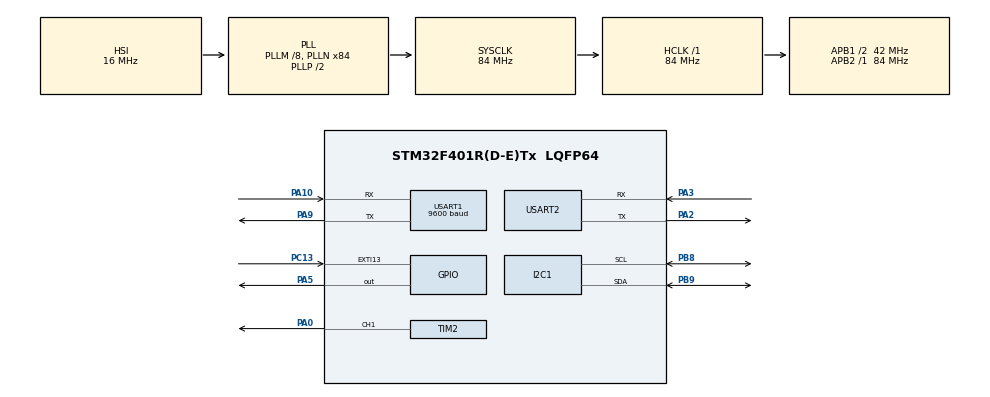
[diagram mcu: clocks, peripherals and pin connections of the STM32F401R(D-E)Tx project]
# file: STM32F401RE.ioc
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FREERTOS.Tasks01=defaultTask,8,128,StartDefaultTask,Default,NULL,Dynamic,NULL,NULL
Mcu.Family=STM32F4
Mcu.Name=STM32F401R(D-E)Tx
Mcu.Package=LQFP64
NVIC.EXTI15_10_IRQn=true\:5\:0\:false\:false\:true\:true\:true\:true\:true
NVIC.PriorityGroup=NVIC_PRIORITYGROUP_4
NVIC.TIM1_TRG_COM_TIM11_IRQn=true\:15\:0\:false\:false\:true\:false\:false\:true\:true
NVIC.TimeBase=TIM1_TRG_COM_TIM11_IRQn
NVIC.TimeBaseIP=TIM11
PA0-WKUP.Signal=S_TIM2_CH1_ETR
PA10.Mode=Asynchronous
PA10.Signal=USART1_RX
PA13.Mode=Serial_Wire
PA13.Signal=SYS_JTMS-SWDIO
PA14.Mode=Serial_Wire
PA14.Signal=SYS_JTCK-SWCLK
PA2.Mode=Asynchronous
PA2.Signal=USART2_TX
PA3.Mode=Asynchronous
PA3.Signal=USART2_RX
PA5.Signal=GPIO_Output
PA9.Mode=Asynchronous
PA9.Signal=USART1_TX
PB8.Mode=I2C
PB8.Signal=I2C1_SCL
PB9.Mode=I2C
PB9.Signal=I2C1_SDA
PC13-ANTI_TAMP.GPIO_ModeDefaultEXTI=GPIO_MODE_IT_FALLING
PC13-ANTI_TAMP.Signal=GPXTI13
PH0\ -\ OSC_IN.Mode=HSE-External-Clock-Source
PH0\ -\ OSC_IN.Signal=RCC_OSC_IN
PH1\ -\ OSC_OUT.Mode=HSE-External-Clock-Source
PH1\ -\ OSC_OUT.Signal=RCC_OSC_OUT
ProjectManager.HeapSize=0x200
ProjectManager.StackSize=0x400
ProjectManager.TargetToolchain=STM32CubeIDE
RCC.48MHZClocksFreq_Value=42000000
RCC.AHBFreq_Value=84000000
RCC.APB1CLKDivider=RCC_HCLK_DIV2
RCC.APB1Freq_Value=42000000
RCC.APB1TimFreq_Value=84000000
RCC.APB2Freq_Value=84000000
RCC.APB2TimFreq_Value=84000000
RCC.CortexFreq_Value=84000000
RCC.HCLKFreq_Value=84000000
RCC.HSE_VALUE=25000000
RCC.HSI_VALUE=16000000
RCC.LSE_VALUE=32768
RCC.PLLM=8
RCC.PLLN=84
RCC.SYSCLKFreq_VALUE=84000000
RCC.SYSCLKSource=RCC_SYSCLKSOURCE_PLLCLK
RCC.VCOOutputFreq_Value=168000000
SH.S_TIM2_CH1_ETR.0=TIM2_CH1,PWM Generation1 CH1
TIM2.Channel-PWM\ Generation1\ CH1=TIM_CHANNEL_1
TIM2.Period=19999
TIM2.Prescaler=83
TIM2.Pulse-PWM\ Generation1\ CH1=1500
USART1.BaudRate=9600
USART1.VirtualMode=VM_ASYNC
USART2.VirtualMode=VM_ASYNC
VP_FREERTOS_VS_CMSIS_V2.Mode=CMSIS_V2
VP_SYS_VS_tim11.Mode=TIM11
board=custom

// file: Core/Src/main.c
/* USER CODE BEGIN Header */
/**
  ******************************************************************************
  * @file           : main.c
  * @brief          : Main program body
  ******************************************************************************
  * @attention
  *
  * Copyright (c) 2026 STMicroelectronics.
  * All rights reserved.
  *
  * This software is licensed under terms that can be found in the LICENSE file
  * in the root directory of this software component.
  * If no LICENSE file comes with this software, it is provided AS-IS.
  *
  ******************************************************************************
  */
/* USER CODE END Header */
#include "main.h"
#include "cmsis_os.h"
#include "i2c.h"
#include "tim.h"
#include "usart.h"
#include "gpio.h"

void SystemClock_Config(void);
void MX_FREERTOS_Init(void);

int main(void)
{

  /* MCU Configuration--------------------------------------------------------*/

  /* Reset of all peripherals, Initializes the Flash interface and the Systick. */
  HAL_Init();

  /* Configure the system clock */
  SystemClock_Config();

  /* Initialize all configured peripherals */
  MX_GPIO_Init();
  MX_USART2_UART_Init();
  MX_I2C1_Init();
  MX_TIM2_Init();
  MX_USART1_UART_Init();

  /* Init scheduler */
  osKernelInitialize();  /* Call init function for freertos objects (in cmsis_os2.c) */
  MX_FREERTOS_Init();

  /* Start scheduler */
  osKernelStart();

  /* We should never get here as control is now taken by the scheduler */

  /* Infinite loop */
  while (1)
  {

  }
}

void SystemClock_Config(void)
{
  RCC_OscInitTypeDef RCC_OscInitStruct = {0};
  RCC_ClkInitTypeDef RCC_ClkInitStruct = {0};

  /** Configure the main internal regulator output voltage
  */
  __HAL_RCC_PWR_CLK_ENABLE();
  __HAL_PWR_VOLTAGESCALING_CONFIG(PWR_REGULATOR_VOLTAGE_SCALE2);

  /** Initializes the RCC Oscillators according to the specified parameters
  * in the RCC_OscInitTypeDef structure.
  */
  RCC_OscInitStruct.OscillatorType = RCC_OSCILLATORTYPE_HSI;
  RCC_OscInitStruct.HSIState = RCC_HSI_ON;
  RCC_OscInitStruct.HSICalibrationValue = RCC_HSICALIBRATION_DEFAULT;
  RCC_OscInitStruct.PLL.PLLState = RCC_PLL_ON;
  RCC_OscInitStruct.PLL.PLLSource = RCC_PLLSOURCE_HSI;
  RCC_OscInitStruct.PLL.PLLM = 8;
  RCC_OscInitStruct.PLL.PLLN = 84;
  RCC_OscInitStruct.PLL.PLLP = RCC_PLLP_DIV2;
  RCC_OscInitStruct.PLL.PLLQ = 4;
  if (HAL_RCC_OscConfig(&RCC_OscInitStruct) != HAL_OK)
  {
    Error_Handler();
  }

  /** Initializes the CPU, AHB and APB buses clocks
  */
  RCC_ClkInitStruct.ClockType = RCC_CLOCKTYPE_HCLK|RCC_CLOCKTYPE_SYSCLK
                              |RCC_CLOCKTYPE_PCLK1|RCC_CLOCKTYPE_PCLK2;
  RCC_ClkInitStruct.SYSCLKSource = RCC_SYSCLKSOURCE_PLLCLK;
  RCC_ClkInitStruct.AHBCLKDivider = RCC_SYSCLK_DIV1;
  RCC_ClkInitStruct.APB1CLKDivider = RCC_HCLK_DIV2;
  RCC_ClkInitStruct.APB2CLKDivider = RCC_HCLK_DIV1;

  if (HAL_RCC_ClockConfig(&RCC_ClkInitStruct, FLASH_LATENCY_2) != HAL_OK)
  {
    Error_Handler();
  }
}

void HAL_TIM_PeriodElapsedCallback(TIM_HandleTypeDef *htim)
{
  if (htim->Instance == TIM11)
  {
    HAL_IncTick();
  }
}

void Error_Handler(void)
{
  __disable_irq();
  while (1)
  {
  }
}

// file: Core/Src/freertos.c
/* USER CODE BEGIN Header */
/**
  ******************************************************************************
  * File Name          : freertos.c
  * Description        : Code for freertos applications
  ******************************************************************************
  * @attention
  *
  * Copyright (c) 2026 STMicroelectronics.
  * All rights reserved.
  *
  * This software is licensed under terms that can be found in the LICENSE file
  * in the root directory of this software component.
  * If no LICENSE file comes with this software, it is provided AS-IS.
  *
  ******************************************************************************
  */
/* USER CODE END Header */

#include "FreeRTOS.h"
#include "task.h"
#include "main.h"
#include "cmsis_os.h"

/* USER CODE BEGIN Includes */
#include <string.h>
#include <stdio.h>
#include "semphr.h"
#include "ina219.h"
#include "ssd1306.h"
#include "queue.h"
/* USER CODE END Includes */

/* USER CODE BEGIN PTD */
typedef struct {
	float voltage;
	float current;
} SensorData_t;
/* USER CODE END PTD */

/* USER CODE BEGIN Variables */
static INA219_t ina219;
static SSD1306_t oled;

static TaskHandle_t xBlinkHandle = NULL;
static TaskHandle_t xHeartbeatHandle = NULL;
static TaskHandle_t xButtonHandle = NULL;
static TaskHandle_t xStatsHandle = NULL;
static TaskHandle_t xSensorHandle = NULL;
static TaskHandle_t xServoHandle = NULL;
static TaskHandle_t xDisplayHandle = NULL;
static TaskHandle_t xControlHandle = NULL;

static SemaphoreHandle_t xBtnSem = NULL;
static SemaphoreHandle_t xI2CMutex = NULL;

static QueueHandle_t xSensorQueue = NULL;

extern UART_HandleTypeDef huart2;
extern I2C_HandleTypeDef hi2c1;
extern TIM_HandleTypeDef htim2;
extern UART_HandleTypeDef huart1;

static float g_peak_current = 0, g_volt_at_peak = 0;
static volatile uint8_t g_servo_blocked = 0;

#define CURRENT_AVG_LIMIT 0.15f
/* USER CODE END Variables */
/* Definitions for defaultTask */
osThreadId_t defaultTaskHandle;
const osThreadAttr_t defaultTask_attributes = {
  .name = "defaultTask",
  .stack_size = 128 * 4,
  .priority = (osPriority_t) osPriorityLow,
};

/* USER CODE BEGIN FunctionPrototypes */
static void vBlinkTask(void *pvParameters);
static void vHeartbeatTask(void *pvParameters);
static void vButtonTask(void *pvParameters);
static void vStatsTask(void *pvParameters);
static void vSensorTask(void *pvParameters);
static void vServoTask(void *pvParameters);
static void vDisplayTask(void *pvParameters);
static void vControlTask(void *pvParameters);
/* USER CODE END FunctionPrototypes */

void StartDefaultTask(void *argument);

void MX_FREERTOS_Init(void); /* (MISRA C 2004 rule 8.1) */

void MX_FREERTOS_Init(void) {
  /* USER CODE BEGIN Init */
	BaseType_t xResult;
	INA219_Init(&ina219, &hi2c1, INA219_ADDR);
	SSD1306_Init(&oled, &hi2c1, SSD1306_ADDR);

	SSD1306_Clear(&oled);
	SSD1306_SetCursor(&oled, 0, 0);
	SSD1306_WriteString(&oled, "HELLO");
	SSD1306_UpdateScreen(&oled);
  /* USER CODE END Init */

  /* USER CODE BEGIN RTOS_MUTEX */
  /* add mutexes, ... */
	xI2CMutex = xSemaphoreCreateMutex();
	configASSERT(xI2CMutex != NULL);
  /* USER CODE END RTOS_MUTEX */

  /* USER CODE BEGIN RTOS_SEMAPHORES */
  /* add semaphores, ... */
	xBtnSem = xSemaphoreCreateBinary();
	configASSERT(xBtnSem != NULL);
  /* USER CODE END RTOS_SEMAPHORES */

  /* USER CODE BEGIN RTOS_QUEUES */
  /* add queues, ... */
	xSensorQueue = xQueueCreate(5, sizeof(SensorData_t));
	configASSERT(xSensorQueue != NULL);
  /* USER CODE END RTOS_QUEUES */

  /* Create the thread(s) */
  /* creation of defaultTask */
  defaultTaskHandle = osThreadNew(StartDefaultTask, NULL, &defaultTask_attributes);

  /* USER CODE BEGIN RTOS_THREADS */
  /* add threads, ... */
  xResult = xTaskCreate(
		  vBlinkTask,
		  "BLINK",
		  128,
		  NULL,
		  1,
		  &xBlinkHandle
  );
  configASSERT(xResult == pdPASS);

  xResult = xTaskCreate(
		  vHeartbeatTask,
		  "HEARTBEAT",
		  128,
		  NULL,
		  2,
		  &xHeartbeatHandle
  );
  configASSERT(xResult == pdPASS);

  xResult = xTaskCreate(
		  vButtonTask,
		  "BUTTON",
		  128,
		  NULL,
		  3,
		  &xButtonHandle
  );
  configASSERT(xResult == pdPASS);

  xResult = xTaskCreate(
		  vStatsTask,
		  "STAT",
		  256,
		  NULL,
		  1,
		  &xStatsHandle
  );
  configASSERT(xResult == pdPASS);

  xResult = xTaskCreate(
		  vSensorTask,
		  "SENSOR",
		  256,
		  NULL,
		  2,
		  &xSensorHandle
  );
  configASSERT(xResult == pdPASS);

  xResult = xTaskCreate(
		  vServoTask,
		  "SERVO",
		  128,
		  NULL,
		  2,
		  &xServoHandle
  );
  configASSERT(xResult == pdPASS);

  xResult = xTaskCreate(
		  vDisplayTask,
		  "DISPLAY",
		  256,
		  NULL,
		  1,
		  &xDisplayHandle
  );
  configASSERT(xResult == pdPASS);

  xResult = xTaskCreate(
		  vControlTask,
		  "CONTROL",
		  256,
		  NULL,
		  4,
		  &xControlHandle
  );
  configASSERT(xResult == pdPASS);
  /* USER CODE END RTOS_THREADS */

}

void StartDefaultTask(void *argument)
{
  for(;;)
  {
    osDelay(1);
  }
}

/* USER CODE BEGIN Application */
static void vBlinkTask(void *pvParameters){
	for(;;){
		HAL_GPIO_TogglePin(GPIOA, GPIO_PIN_5);
		vTaskDelay(pdMS_TO_TICKS(1000));
	}
}

static void vHeartbeatTask(void *pvParameters){
	char tx_buffer[20] = {0};
	strcpy(tx_buffer, "OK\r\n");
	for(;;){
		HAL_UART_Transmit(&huart2, (uint8_t *)tx_buffer, strlen(tx_buffer), 100);
		vTaskDelay(pdMS_TO_TICKS(1000));
	}
}

static void vButtonTask(void *pvParameters){
	char msg[] = "\r\nBUTTON\r\n";
	for(;;){
		if(xSemaphoreTake(xBtnSem, portMAX_DELAY) == pdTRUE){
			HAL_UART_Transmit(&huart2, (uint8_t *)msg, strlen(msg), 100);
			HAL_TIM_PWM_Start(&htim2, TIM_CHANNEL_1);
			g_servo_blocked = 0;
		}
	}
}

static void vStatsTask(void *pvParameters){
	char msg[64] = {0};
	for(;;){
		UBaseType_t uxResult1 = uxTaskGetStackHighWaterMark(xBlinkHandle);
		UBaseType_t uxResult2 = uxTaskGetStackHighWaterMark(xButtonHandle);
		UBaseType_t uxResult3 = uxTaskGetStackHighWaterMark(xHeartbeatHandle);
		size_t res = xPortGetFreeHeapSize();
		snprintf(msg, 64, "BLINK: %lu | BTN: %lu | HB: %lu | HEAP: %u\r\n", (unsigned long)uxResult1, (unsigned long)uxResult2, (unsigned long)uxResult3, res);
		HAL_UART_Transmit(&huart2, (uint8_t *)msg, strlen(msg), 100);
		vTaskDelay(pdMS_TO_TICKS(5000));
	}
}

static void vSensorTask(void *pvParameters){
	char msg[96];
	float volt, current;
	HAL_StatusTypeDef VolRes = HAL_OK, CurRes = HAL_OK;
	for(;;){
		g_peak_current = 0, g_volt_at_peak = 0;
		int fail_count = 0;
		for(int i = 0; i < 20; i++){
			if(xSemaphoreTake(xI2CMutex, portMAX_DELAY) == pdTRUE){
				VolRes = INA219_ReadBusVoltage(&ina219, &volt);
				CurRes = INA219_ReadCurrent(&ina219, &current);
				xSemaphoreGive(xI2CMutex);
			}
			if(VolRes == HAL_OK && CurRes == HAL_OK){
				SensorData_t data;
				data.voltage = volt;
				data.current = current;
				xQueueSend(xSensorQueue, &data, 0);
				if(current > g_peak_current){
					g_peak_current = current;
					g_volt_at_peak = volt;
				}
			}else{
				fail_count++;
			}
			vTaskDelay(pdMS_TO_TICKS(50));
		} // peak loop end
		int mv = (int)(g_volt_at_peak * 1000);
		int ua = (int)(g_peak_current * 1000000);
		if(fail_count == 20){
			snprintf(msg, sizeof(msg), "ERROR");
		}else{
			snprintf(msg, sizeof(msg), "V: %d.%03d(V) | I: %d.%01d(mA) | FAIL: %d\r\n", mv / 1000, mv % 1000, ua / 1000, ua % 1000, fail_count);
		}

		HAL_UART_Transmit(&huart2, (uint8_t *)msg, strlen(msg), 1000);
		HAL_UART_Transmit(&huart1, (uint8_t *)msg, strlen(msg), 1000);
	} // Task loop end
}

static void vServoTask(void *pvParameters){
	HAL_TIM_PWM_Start(&htim2, TIM_CHANNEL_1);
	for(;;){
		if(g_servo_blocked == 0){
			TIM2->CCR1 = 1000;
			vTaskDelay(pdMS_TO_TICKS(1000));
			TIM2->CCR1 = 2000;
		}else{
			TIM2->CCR1 = 1500;
		}
		vTaskDelay(pdMS_TO_TICKS(1000));
	}
}

static void vDisplayTask(void *pvParameters){
	char line1[24];
	char line2[24];
	for(;;){
		int mv = (int)(g_volt_at_peak * 1000);
		int ua = (int)(g_peak_current * 1000000);
		snprintf(line1, sizeof(line1), "V: %d.%03d(V)", mv / 1000, mv % 1000);
		snprintf(line2, sizeof(line2), "I: %d.%01d(mA)", ua / 1000, ua % 1000);
		SSD1306_Clear(&oled);
		SSD1306_SetCursor(&oled, 0, 0);
		SSD1306_WriteString(&oled, line1);
		SSD1306_SetCursor(&oled, 0, 16);
		SSD1306_WriteString(&oled, line2);
		if(xSemaphoreTake(xI2CMutex, portMAX_DELAY) == pdTRUE){
			SSD1306_UpdateScreen(&oled);
			xSemaphoreGive(xI2CMutex);
		}
		vTaskDelay(pdMS_TO_TICKS(500));
	}
}

static void vControlTask(void *pvParameters){
	int count = 0;
	float sum = 0;
	SensorData_t data;
	char msg[64];
	for(;;){
		if(xQueueReceive(xSensorQueue, &data, portMAX_DELAY) == pdPASS){
			sum += data.current;
			count++;
			if(count >= 20){
				float avg = sum / count;
				int avg_ua = (int)(avg * 1000000);
				snprintf(msg, sizeof(msg), "CONTROL AVG: %d.%03d\r\n", avg_ua / 1000, avg_ua % 1000);
				if(avg > CURRENT_AVG_LIMIT && g_servo_blocked != 1){
					HAL_TIM_PWM_Stop(&htim2, TIM_CHANNEL_1);
					g_servo_blocked = 1;
					snprintf(msg, sizeof(msg), "********* SERVO BLOCKED *********\r\n");
				}
				HAL_UART_Transmit(&huart2, (uint8_t *)msg, strlen(msg), 1000);
				sum = 0, count = 0;
			}
		}
	}
}

void HAL_GPIO_EXTI_Callback(uint16_t GPIO_Pin){
	if(GPIO_Pin == GPIO_PIN_13){
		BaseType_t xHigherPriorityTaskWoken = pdFALSE;
		xSemaphoreGiveFromISR(xBtnSem, &xHigherPriorityTaskWoken);
		portYIELD_FROM_ISR(xHigherPriorityTaskWoken);
	}
}

/* USER CODE END Application */
